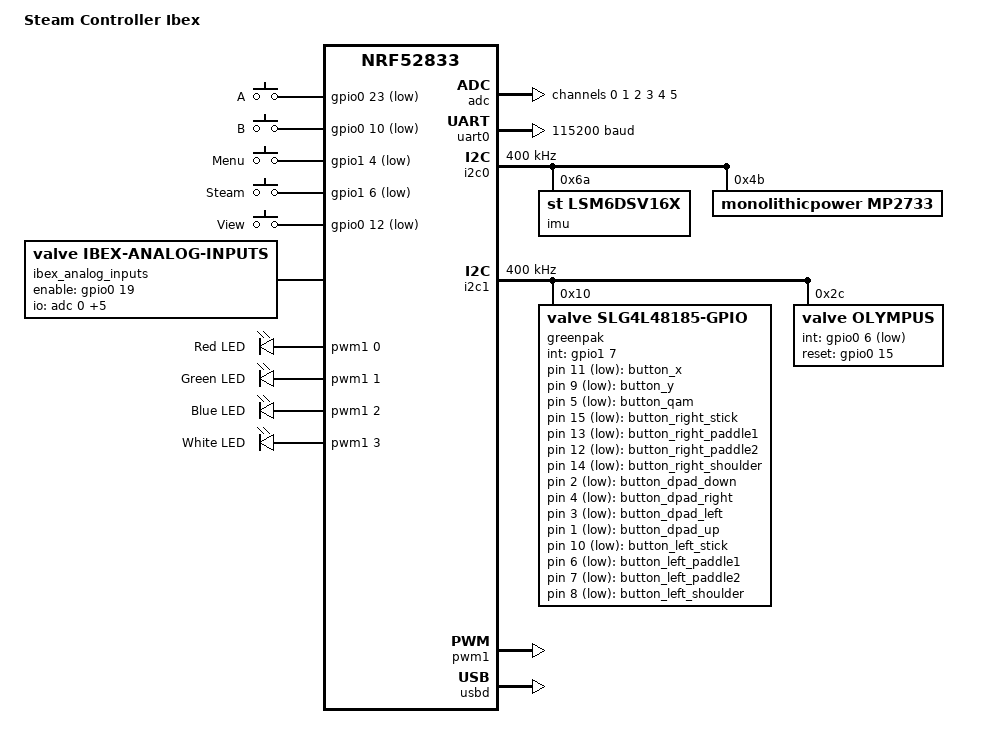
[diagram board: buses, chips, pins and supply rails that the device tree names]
/* SPDX-License-Identifier: AGPL-3.0-or-later */

/dts-v1/;

#include <nordic/nrf52833_qiaa.dtsi>
#include "steam_controller_ibex_nrf52833-pinctrl.dtsi"
#include <zephyr/dt-bindings/adc/adc.h>
#include <zephyr/dt-bindings/adc/nrf-saadc.h>
#include <zephyr/dt-bindings/input/input-event-codes.h>
#include <zephyr/dt-bindings/pwm/pwm.h>

/ {
	model = "Steam Controller Ibex";
	compatible = "valve,steam-controller-ibex";

	aliases {
		button-a = &button_a;
		button-b = &button_b;
		button-x = &button_x;
		button-y = &button_y;
		button-qam = &button_qam;
		button-right-stick = &button_right_stick;
		button-view = &button_menu;
		button-right-paddle1 = &button_right_paddle1;
		button-right-paddle2 = &button_right_paddle2;
		button-right-shoulder = &button_right_shoulder;
		button-dpad-down = &button_dpad_down;
		button-dpad-right = &button_dpad_right;
		button-dpad-left = &button_dpad_left;
		button-dpad-up = &button_dpad_up;
		button-menu = &button_left_view;
		button-left-stick = &button_left_stick;
		button-steam = &button_steam;
		button-left-paddle1 = &button_left_paddle1;
		button-left-paddle2 = &button_left_paddle2;
		button-left-shoulder = &button_left_shoulder;
		accel0 = &imu;
		watchdog0 = &wdt0;
	};

	chosen {
		zephyr,console = &cdc_acm_uart0;
		zephyr,shell-uart = &cdc_acm_uart0;
		zephyr,sram = &sram0;
		zephyr,flash = &flash0;
		zephyr,code-partition = &application_partition;
	};

	buttons {
		compatible = "gpio-keys";

		button_a: button_a {
			label = "A";
			gpios = <&gpio0 23 (GPIO_PULL_UP | GPIO_ACTIVE_LOW)>;
			zephyr,code = <INPUT_BTN_SOUTH>;
		};

		button_b: button_b {
			label = "B";
			gpios = <&gpio0 10 (GPIO_PULL_UP | GPIO_ACTIVE_LOW)>;
			zephyr,code = <INPUT_BTN_EAST>;
		};

		button_menu: button_menu {
			label = "Menu";
			gpios = <&gpio1 4 (GPIO_PULL_UP | GPIO_ACTIVE_LOW)>;
			zephyr,code = <INPUT_KEY_MENU>;
		};

		button_steam: button_steam {
			label = "Steam";
			gpios = <&gpio1 6 (GPIO_PULL_UP | GPIO_ACTIVE_LOW)>;
			zephyr,code = <INPUT_KEY_HOME>;
		};

		button_left_view: button_left_view {
			label = "View";
			gpios = <&gpio0 12 (GPIO_PULL_UP | GPIO_ACTIVE_LOW)>;
			zephyr,code = <INPUT_KEY_BACK>;
		};
	};

	greenpak_buttons {
		compatible = "gpio-keys";

		button_x: button_x {
			gpios = <&greenpak 11 GPIO_ACTIVE_LOW>;
			zephyr,code = <INPUT_BTN_WEST>;
		};

		button_y: button_y {
			gpios = <&greenpak 9 GPIO_ACTIVE_LOW>;
			zephyr,code = <INPUT_BTN_NORTH>;
		};

		button_qam: button_qam {
			gpios = <&greenpak 5 GPIO_ACTIVE_LOW>;
			zephyr,code = <INPUT_BTN_MODE>;
		};

		button_right_stick: button_right_stick {
			gpios = <&greenpak 15 GPIO_ACTIVE_LOW>;
			zephyr,code = <INPUT_BTN_THUMBR>;
		};

		button_right_paddle1: button_right_paddle1 {
			gpios = <&greenpak 13 GPIO_ACTIVE_LOW>;
			zephyr,code = <INPUT_BTN_5>;
		};

		button_right_paddle2: button_right_paddle2 {
			gpios = <&greenpak 12 GPIO_ACTIVE_LOW>;
			zephyr,code = <INPUT_BTN_6>;
		};

		button_right_shoulder: button_right_shoulder {
			gpios = <&greenpak 14 GPIO_ACTIVE_LOW>;
			zephyr,code = <INPUT_BTN_TR>;
		};

		button_dpad_down: button_dpad_down {
			gpios = <&greenpak 2 GPIO_ACTIVE_LOW>;
			zephyr,code = <INPUT_BTN_DPAD_DOWN>;
		};

		button_dpad_right: button_dpad_right {
			gpios = <&greenpak 4 GPIO_ACTIVE_LOW>;
			zephyr,code = <INPUT_BTN_DPAD_RIGHT>;
		};

		button_dpad_left: button_dpad_left {
			gpios = <&greenpak 3 GPIO_ACTIVE_LOW>;
			zephyr,code = <INPUT_BTN_DPAD_LEFT>;
		};

		button_dpad_up: button_dpad_up {
			gpios = <&greenpak 1 GPIO_ACTIVE_LOW>;
			zephyr,code = <INPUT_BTN_DPAD_UP>;
		};

		button_left_stick: button_left_stick {
			gpios = <&greenpak 10 GPIO_ACTIVE_LOW>;
			zephyr,code = <INPUT_BTN_THUMBL>;
		};

		button_left_paddle1: button_left_paddle1 {
			gpios = <&greenpak 6 GPIO_ACTIVE_LOW>;
			zephyr,code = <INPUT_BTN_7>;
		};

		button_left_paddle2: button_left_paddle2 {
			gpios = <&greenpak 7 GPIO_ACTIVE_LOW>;
			zephyr,code = <INPUT_BTN_8>;
		};

		button_left_shoulder: button_left_shoulder {
			gpios = <&greenpak 8 GPIO_ACTIVE_LOW>;
			zephyr,code = <INPUT_BTN_TL>;
		};
	};

	ibex_analog_inputs {
		compatible = "valve,ibex-analog-inputs";
		enable-gpios = <&gpio0 19 GPIO_ACTIVE_HIGH>;
		io-channels = <&adc 0>, <&adc 1>, <&adc 2>,
			      <&adc 3>, <&adc 4>, <&adc 5>;
		io-channel-names = "stick-left-x", "stick-left-y",
				   "stick-right-x", "stick-right-y",
				   "trigger-left", "trigger-right";
	};

	pwmrgbleds: pwmrgbleds {
		compatible = "pwm-leds";

		led_red: led_red {
			pwms = <&pwm1 0 PWM_HZ(20000) PWM_POLARITY_INVERTED>;
			label = "Red LED";
		};

		led_green: led_green {
			pwms = <&pwm1 1 PWM_HZ(20000) PWM_POLARITY_INVERTED>;
			label = "Green LED";
		};

		led_blue: led_blue {
			pwms = <&pwm1 2 PWM_HZ(20000) PWM_POLARITY_INVERTED>;
			label = "Blue LED";
		};

		led_white: led_white {
			pwms = <&pwm1 3 PWM_HZ(20000) PWM_POLARITY_INVERTED>;
			label = "White LED";
		};
	};
};

&adc {
	status = "okay";
	#address-cells = <1>;
	#size-cells = <0>;

	channel@0 {
		reg = <0>;
		zephyr,gain = "ADC_GAIN_1_4";
		zephyr,reference = "ADC_REF_VDD_1_4";
		zephyr,acquisition-time = <ADC_ACQ_TIME(ADC_ACQ_TIME_MICROSECONDS, 3)>;
		zephyr,input-positive = <NRF_SAADC_AIN4>;
		zephyr,vref-mv = <825>;
		zephyr,resolution = <12>;
	};

	channel@1 {
		reg = <1>;
		zephyr,gain = "ADC_GAIN_1_4";
		zephyr,reference = "ADC_REF_VDD_1_4";
		zephyr,acquisition-time = <ADC_ACQ_TIME(ADC_ACQ_TIME_MICROSECONDS, 3)>;
		zephyr,input-positive = <NRF_SAADC_AIN1>;
		zephyr,vref-mv = <825>;
		zephyr,resolution = <12>;
	};

	channel@2 {
		reg = <2>;
		zephyr,gain = "ADC_GAIN_1_4";
		zephyr,reference = "ADC_REF_VDD_1_4";
		zephyr,acquisition-time = <ADC_ACQ_TIME(ADC_ACQ_TIME_MICROSECONDS, 3)>;
		zephyr,input-positive = <NRF_SAADC_AIN7>;
		zephyr,vref-mv = <825>;
		zephyr,resolution = <12>;
	};

	channel@3 {
		reg = <3>;
		zephyr,gain = "ADC_GAIN_1_4";
		zephyr,reference = "ADC_REF_VDD_1_4";
		zephyr,acquisition-time = <ADC_ACQ_TIME(ADC_ACQ_TIME_MICROSECONDS, 3)>;
		zephyr,input-positive = <NRF_SAADC_AIN5>;
		zephyr,vref-mv = <825>;
		zephyr,resolution = <12>;
	};

	channel@4 {
		reg = <4>;
		zephyr,gain = "ADC_GAIN_1_2";
		zephyr,reference = "ADC_REF_VDD_1_4";
		zephyr,acquisition-time = <ADC_ACQ_TIME(ADC_ACQ_TIME_MICROSECONDS, 3)>;
		zephyr,input-positive = <NRF_SAADC_AIN6>;
		zephyr,vref-mv = <825>;
		zephyr,resolution = <12>;
	};

	channel@5 {
		reg = <5>;
		zephyr,gain = "ADC_GAIN_1_2";
		zephyr,reference = "ADC_REF_VDD_1_4";
		zephyr,acquisition-time = <ADC_ACQ_TIME(ADC_ACQ_TIME_MICROSECONDS, 3)>;
		zephyr,input-positive = <NRF_SAADC_AIN0>;
		zephyr,vref-mv = <825>;
		zephyr,resolution = <12>;
	};
};

&gpiote {
	status = "okay";
};

&gpio0 {
	status = "okay";
	sense-edge-mask = <0x00801400>;
};

&gpio1 {
	status = "okay";
	sense-edge-mask = <0x00000050>;
};

&uart0 {
	compatible = "nordic,nrf-uarte";
	status = "okay";
	current-speed = <115200>;
	pinctrl-0 = <&uart0_default>;
	pinctrl-1 = <&uart0_sleep>;
	pinctrl-names = "default", "sleep";
};

&i2c0 {
	compatible = "nordic,nrf-twim";
	status = "okay";
	clock-frequency = <I2C_BITRATE_FAST>;
	pinctrl-0 = <&i2c0_default>;
	pinctrl-1 = <&i2c0_sleep>;
	pinctrl-names = "default", "sleep";

	imu: lsm6dsv16x@6a {
		compatible = "st,lsm6dsv16x";
		reg = <0x6a>;
		status = "okay";
	};

	mp2733: charger@4b {
		compatible = "monolithicpower,mp2733";
		reg = <0x4b>;
		status = "okay";
	};
};

&i2c1 {
	compatible = "nordic,nrf-twim";
	status = "okay";
	clock-frequency = <I2C_BITRATE_FAST>;
	pinctrl-0 = <&i2c1_default>;
	pinctrl-1 = <&i2c1_sleep>;
	pinctrl-names = "default", "sleep";

	greenpak: gpio@10 {
		compatible = "valve,slg4l48185-gpio";
		reg = <0x10>;
		gpio-controller;
		#gpio-cells = <2>;
		ngpios = <16>;
		gpio-reserved-ranges = <0 1>;
		int-gpios = <&gpio1 7 GPIO_ACTIVE_HIGH>;
		input-selector = <0xf0>;
		poll-interval-ms = <20>;
		status = "okay";
	};

	olympus: touch-controller@2c {
		compatible = "valve,olympus";
		reg = <0x2c>;
		int-gpios = <&gpio0 6 GPIO_ACTIVE_LOW>;
		reset-gpios = <&gpio0 15 GPIO_ACTIVE_HIGH>;
		status = "okay";
	};
};

&flash0 {
	partitions {
		compatible = "fixed-partitions";
		#address-cells = <1>;
		#size-cells = <1>;

		/*
		 * Valve's bootloader occupies 0x00000-0x07fff and stores
		 * the application header at 0x7cfe0-0x7cfff.
		 */
		application_partition: partition@8000 {
			label = "application";
			reg = <0x00008000 0x00070000>;
		};

		storage_partition: partition@78000 {
			label = "storage";
			reg = <0x00078000 0x00004000>;
		};

		valve_app_header: partition@7c000 {
			label = "valve-app-header";
			reg = <0x0007c000 0x00001000>;
		};

		valve_storage: partition@7d000 {
			label = "valve-storage";
			reg = <0x0007d000 0x00003000>;
		};
	};
};

&pwm1 {
	status = "okay";
	pinctrl-0 = <&pwm1_default>;
	pinctrl-1 = <&pwm1_sleep>;
	pinctrl-names = "default", "sleep";
};

zephyr_udc0: &usbd {
	compatible = "nordic,nrf-usbd";
	status = "okay";

	cdc_acm_uart0: cdc_acm_uart0 {
		compatible = "zephyr,cdc-acm-uart";
	};
};
